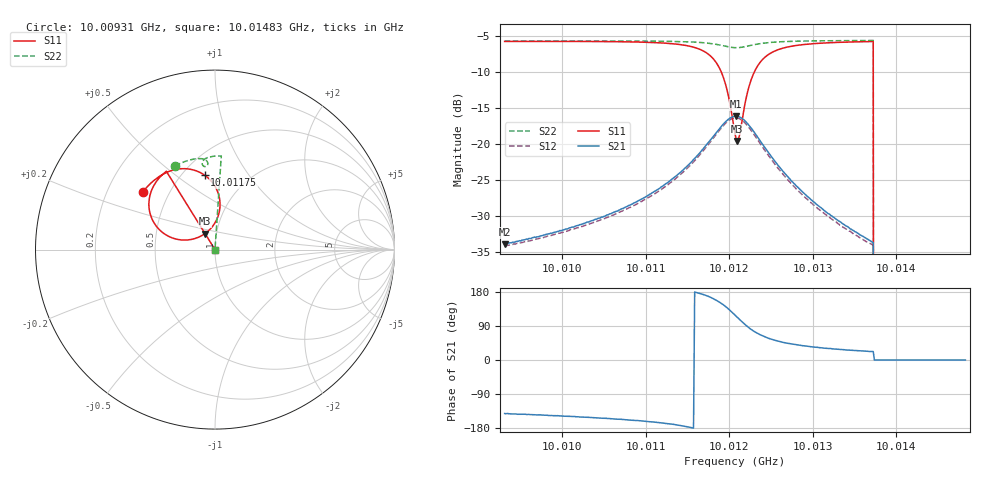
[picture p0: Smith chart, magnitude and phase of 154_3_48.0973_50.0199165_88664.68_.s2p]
#  HZ  S  RI  R  50.00
! Rohde & Schwarz Vector Network Analyzer
! Rohde-Schwarz,ZNB20-2Port,1311601062101988,3.16
! Created: UTC 12/23/2023, 3:50:06 AM
! freq[Hz]  re:S11  im:S11  re:S21  im:S21  re:S12  im:S12  re:S22  im:S22
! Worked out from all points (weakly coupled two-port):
!   401 points, 10.00931 GHz to 10.01483 GHz, reference 50 ohm
!   highest |S21| = -16.14 dB at 10.01208 GHz (marker M1); lowest = -33.9 dB at 10.00931 GHz (marker M2)
!   lowest |S11| = -19.6 dB at 10.0121 GHz (marker M3), VSWR 1.23, Z = 43.9 + j7.81 ohm
!   |S11| at or under -10 dB: 10.0119 GHz to 10.0123 GHz (396.9 kHz wide, 0.00396 % of centre); 10.01372 GHz to end of sweep
!   |S22| runs from - to -5.6 dB; largest |S21 - S12| = 0.0076
!   S11 on the Smith chart (normalised r, x): 10.00931 GHz: 0.36, +0.31; 10.01175 GHz: 0.64, +0.64; 10.01483 GHz: 1.00, +0.00
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1.0009308e10  -0.4002 0.3232  -0.0157 -0.0126  -0.0146 -0.013  -0.2226 0.4671
1.0010233e10  -0.3454 0.3811  -0.0242 -0.0136  -0.0226 -0.0143  -0.166 0.4912
1.0010744e10  -0.3012 0.4136  -0.0333 -0.0139  -0.0315 -0.0148  -0.132 0.5013
1.0011158e10  -0.2458 0.4393  -0.0473 -0.0125  -0.045 -0.0143  -0.102 0.5067
1.0011489e10  -0.1689 0.451  -0.0694 -0.0051  -0.0667 -0.00845  -0.0745 0.5069
1.0011751e10  -0.0581 0.4149  -0.1002 0.0217  -0.0982 0.0162  -0.0499 0.4975
1.0011848e10  -0.00709 0.3638  -0.1113 0.0469  -0.1105 0.0395  -0.0425 0.4889
1.0011931e10  0.0249 0.2871  -0.1135 0.0779  -0.1138 0.0712  -0.0398 0.4781
1.0011986e10  0.0256 0.2189  -0.1056 0.1034  -0.1073 0.0963  -0.0418 0.4704
1.0012069e10  -0.0264 0.1145  -0.0742 0.137  -0.0772 0.1307  -0.0515 0.4629
1.0012082e10  -0.0411 0.1005  -0.0672 0.1407  -0.0703 0.1346  -0.0535 0.4625
1.0012096e10  -0.0574 0.0879  -0.0598 0.1437  -0.0632 0.1376  -0.0556 0.4625
1.0012124e10  -0.0934 0.0683  -0.0448 0.1472  -0.0483 0.1414  -0.0597 0.4632
1.0012193e10  -0.1884 0.0539  -0.00724 0.1435  -0.0112 0.1386  -0.0678 0.4692
1.0012248e10  -0.2535 0.0716  0.0163 0.131  0.0109 0.1268  -0.071 0.4766
1.0012372e10  -0.3393 0.1484  0.0417 0.0959  0.0367 0.0932  -0.068 0.4924
1.0012593e10  -0.3682 0.2637  0.0455 0.0532  0.0413 0.0524  -0.0505 0.5086
1.0012993e10  -0.3365 0.3643  0.0334 0.0229  0.0306 0.0234  -0.0178 0.5188
1.0013697e10  -0.2733 0.4348  0.0196 0.00802  0.0182 0.00868  0.0332 0.5217
1.0013766e10  0 0  0 0  0 0  0 0
1.0013918e10  0 0  0 0  0 0  0 0
1.0014829e10  0 0  0 0  0 0  0 0
